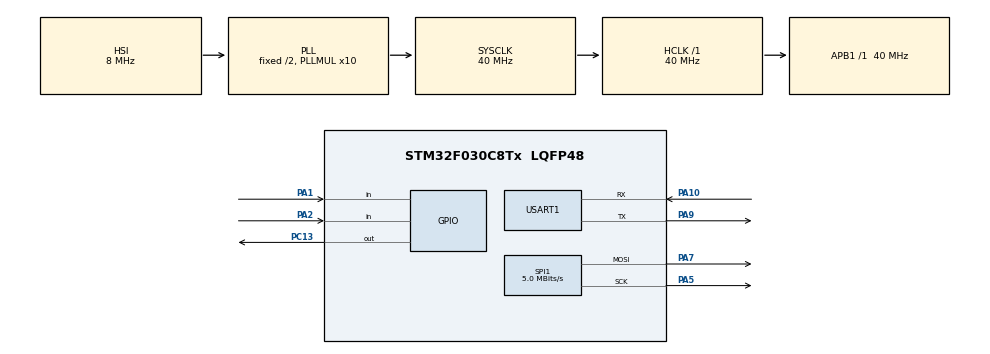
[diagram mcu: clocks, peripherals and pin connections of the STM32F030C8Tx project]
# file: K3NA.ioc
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Mcu.Family=STM32F0
Mcu.Name=STM32F030C8Tx
Mcu.Package=LQFP48
PA1.Signal=GPIO_Input
PA10.Mode=Asynchronous
PA10.Signal=USART1_RX
PA13.Mode=Serial_Wire
PA13.Signal=SYS_SWDIO
PA14.Mode=Serial_Wire
PA14.Signal=SYS_SWCLK
PA2.Signal=GPIO_Input
PA5.Mode=TX_Only_Simplex_Unidirect_Master
PA5.Signal=SPI1_SCK
PA7.Mode=TX_Only_Simplex_Unidirect_Master
PA7.Signal=SPI1_MOSI
PA9.Mode=Asynchronous
PA9.Signal=USART1_TX
PC13.Signal=GPIO_Output
PC14-OSC32_IN.Mode=LSE-External-Oscillator
PC14-OSC32_IN.Signal=RCC_OSC32_IN
PC15-OSC32_OUT.Mode=LSE-External-Oscillator
PC15-OSC32_OUT.Signal=RCC_OSC32_OUT
PF0-OSC_IN.Mode=HSE-External-Oscillator
PF0-OSC_IN.Signal=RCC_OSC_IN
PF1-OSC_OUT.Mode=HSE-External-Oscillator
PF1-OSC_OUT.Signal=RCC_OSC_OUT
ProjectManager.HeapSize=0x200
ProjectManager.StackSize=0x400
ProjectManager.TargetToolchain=MDK-ARM V5.32
RCC.AHBFreq_Value=40000000
RCC.APB1Freq_Value=40000000
RCC.APB1TimFreq_Value=40000000
RCC.HCLKFreq_Value=40000000
RCC.PLLMUL=RCC_PLL_MUL10
RCC.SYSCLKFreq_VALUE=40000000
RCC.SYSCLKSource=RCC_SYSCLKSOURCE_PLLCLK
SPI1.BaudRatePrescaler=SPI_BAUDRATEPRESCALER_8
SPI1.CalculateBaudRate=5.0 MBits/s
SPI1.DataSize=SPI_DATASIZE_8BIT
SPI1.Direction=SPI_DIRECTION_2LINES
SPI1.Mode=SPI_MODE_MASTER
SPI1.VirtualType=VM_MASTER
USART1.VirtualMode-Asynchronous=VM_ASYNC
board=custom

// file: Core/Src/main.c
/* USER CODE BEGIN Header */
/**
  ******************************************************************************
  * @file           : main.c
  * @brief          : Main program body
  ******************************************************************************
  * @attention
  *
  * Copyright (c) 2024 STMicroelectronics.
  * All rights reserved.
  *
  * This software is licensed under terms that can be found in the LICENSE file
  * in the root directory of this software component.
  * If no LICENSE file comes with this software, it is provided AS-IS.
  *
  ******************************************************************************
  */
/* USER CODE END Header */
#include "main.h"
#include "spi.h"
#include "usart.h"
#include "gpio.h"

/* USER CODE BEGIN Includes */
#include "WS2812_SPI.h"
#include "led_conf.h"
#include "led_move.h"
#include "otimers.h"

/* USER CODE END Includes */

/* USER CODE BEGIN PD */
#define ZERO 0
#define ONE 1
#define TWO 2
/* USER CODE END PD */

/* USER CODE BEGIN PV */
extern volatile uint8_t gucKeyMode,                                                               // Switch mode
                        gucKeyGaso;                                                               // Push Button TPS

rgb_color       rLed_Data[MAX_NUMB];
int brightness = 30;

/* USER CODE END PV */

void SystemClock_Config(void);

int main(void)
{

  /* USER CODE BEGIN 1 */
	LedTypeDef lLed_Data[3];

	uint16_t wStart[3]  = {  0,  20, 40};
	uint16_t wEnd[3]    = { 19, 39, 79};

	uint32_t ulTime[] = {500, 500, 500, 20};

	StateDir sDir[3]   = {SHIFT_RIGHT, SHIFT_LEFT, SHIFT_LEFT};
	rgb_color  rClrOri[3] = { COLOR_RED, COLOR_BLUE, COLOR_GREEN };
	rgb_color  rClrNew[3] = { COLOR_YELLOW, COLOR_BLANK, COLOR_WHITE};

	int i=0;

  /* USER CODE END 1 */

  /* MCU Configuration--------------------------------------------------------*/

  /* Reset of all peripherals, Initializes the Flash interface and the Systick. */
  HAL_Init();

  /* Configure the system clock */
  SystemClock_Config();

  /* Initialize all configured peripherals */
  MX_GPIO_Init();
  MX_SPI1_Init();
  MX_USART1_UART_Init();
  /* USER CODE BEGIN 2 */
	// Clear all display, fill with color blank
  for (i=0; i<MAX_NUMB; i++)
	  rLed_Data[i] = COLOR_BLANK;
  WS2812_Send();
  HAL_Delay(50);
  WS2812_Send();    // Make sure data is blank

	// Copy parameters to lLedData
  for (i = 0; i<3; i++)
  {
	  lLed_Data[i].wPosStart  = wStart[i];
	  lLed_Data[i].wPosEnd    = wEnd[i];
	  lLed_Data[i].rColorOri  = rClrOri[i];
	  lLed_Data[i].rColorFill = rClrNew[i];
	  lLed_Data[i].sDir       = sDir[i];
		if (sDir[i] == SHIFT_LEFT)
		  lLed_Data[i].wPosCurr   = wStart[i];
		else
		  lLed_Data[i].wPosCurr   = wEnd[i];
  }

  // Init all color
  for (i=0; i<3; i++)
    led_color_init(rLed_Data, &lLed_Data[i]);

//// ================================================= Init roda
	for (i=0; i<4; i++)
	  load_timer(i, ulTime[i]);

  /* USER CODE END 2 */

  /* Infinite loop */
  /* USER CODE BEGIN WHILE */
  while (1)
  {
		HAL_GPIO_TogglePin(GPIOC, GPIO_PIN_13);
		if (check_timer(0) == TIMER_TIMEOUT)
		{
			load_timer(0, ulTime[0]);
			led_shift_right_num(rLed_Data, &lLed_Data[ZERO],SET, 4);
		}

		if (check_timer(1) == TIMER_TIMEOUT)
		{
			load_timer(1, ulTime[1]);
			led_shift_left_num(rLed_Data, &lLed_Data[ONE],SET, 3);
		}

		if (check_timer(2) == TIMER_TIMEOUT)
		{
			load_timer(2, ulTime[2]);

			led_shift_right_num(rLed_Data, &lLed_Data[TWO],SET, 4);
		}

    /* USER CODE END WHILE */

    /* USER CODE BEGIN 3 */

		if (check_timer(3) == TIMER_TIMEOUT)
		{
			load_timer(3, 20);
			WS2812_Send();    // Make sure data is blank
		}
  }
  /* USER CODE END 3 */
}

void SystemClock_Config(void)
{
  RCC_OscInitTypeDef RCC_OscInitStruct = {0};
  RCC_ClkInitTypeDef RCC_ClkInitStruct = {0};
  RCC_PeriphCLKInitTypeDef PeriphClkInit = {0};

  /** Initializes the RCC Oscillators according to the specified parameters
  * in the RCC_OscInitTypeDef structure.
  */
  RCC_OscInitStruct.OscillatorType = RCC_OSCILLATORTYPE_HSI;
  RCC_OscInitStruct.HSIState = RCC_HSI_ON;
  RCC_OscInitStruct.HSICalibrationValue = RCC_HSICALIBRATION_DEFAULT;
  RCC_OscInitStruct.PLL.PLLState = RCC_PLL_ON;
  RCC_OscInitStruct.PLL.PLLSource = RCC_PLLSOURCE_HSI;
  RCC_OscInitStruct.PLL.PLLMUL = RCC_PLL_MUL10;
  RCC_OscInitStruct.PLL.PREDIV = RCC_PREDIV_DIV1;
  if (HAL_RCC_OscConfig(&RCC_OscInitStruct) != HAL_OK)
  {
    Error_Handler();
  }

  /** Initializes the CPU, AHB and APB buses clocks
  */
  RCC_ClkInitStruct.ClockType = RCC_CLOCKTYPE_HCLK|RCC_CLOCKTYPE_SYSCLK
                              |RCC_CLOCKTYPE_PCLK1;
  RCC_ClkInitStruct.SYSCLKSource = RCC_SYSCLKSOURCE_PLLCLK;
  RCC_ClkInitStruct.AHBCLKDivider = RCC_SYSCLK_DIV1;
  RCC_ClkInitStruct.APB1CLKDivider = RCC_HCLK_DIV1;

  if (HAL_RCC_ClockConfig(&RCC_ClkInitStruct, FLASH_LATENCY_1) != HAL_OK)
  {
    Error_Handler();
  }
  PeriphClkInit.PeriphClockSelection = RCC_PERIPHCLK_USART1;
  PeriphClkInit.Usart1ClockSelection = RCC_USART1CLKSOURCE_PCLK1;
  if (HAL_RCCEx_PeriphCLKConfig(&PeriphClkInit) != HAL_OK)
  {
    Error_Handler();
  }
}

void Error_Handler(void)
{
  __disable_irq();
  while (1)
  {
  }
}
